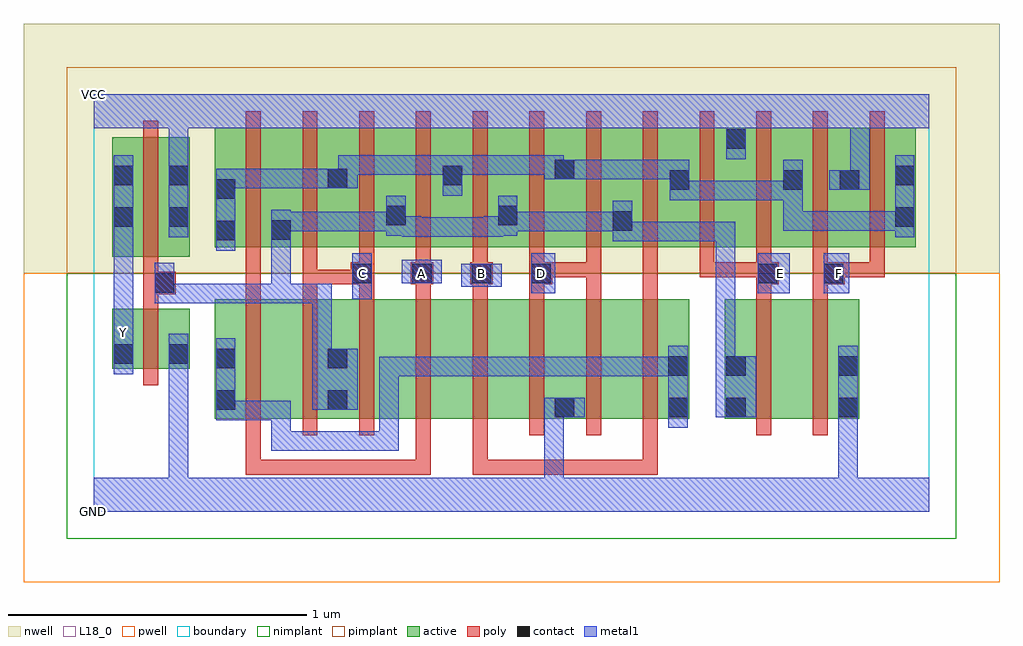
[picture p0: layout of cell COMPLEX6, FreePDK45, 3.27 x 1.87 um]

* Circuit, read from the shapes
.subckt COMPLEX6 A B C D E F GND VCC Y
M1 GND n1 Y VSUBS nfet w=0.2u l=0.05u
M2 n2 A n3 VSUBS nfet w=0.4u l=0.05u
M3 n1 C n2 VSUBS nfet w=0.4u l=0.05u
M4 n4 C n1 VSUBS nfet w=0.4u l=0.05u
M5 n5 A n4 VSUBS nfet w=0.4u l=0.05u
M6 n6 B n5 VSUBS nfet w=0.4u l=0.05u
M7 GND D n6 VSUBS nfet w=0.4u l=0.05u
M8 n7 D GND VSUBS nfet w=0.4u l=0.05u
M9 n3 B n7 VSUBS nfet w=0.4u l=0.05u
M10 n8 E n1 VSUBS nfet w=0.4u l=0.05u
M11 GND F n8 VSUBS nfet w=0.4u l=0.05u
M12 VCC n1 Y n9 pfet w=0.4u l=0.05u
M13 n1 A n10 n9 pfet w=0.4u l=0.05u m=2
M14 n10 C n1 n9 pfet w=0.4u l=0.05u m=2
M15 n1 B n10 n9 pfet w=0.4u l=0.05u m=2
M16 n10 D n1 n9 pfet w=0.4u l=0.05u m=2
M17 VCC E n10 n9 pfet w=0.4u l=0.05u m=2
M18 VCC F n10 n9 pfet w=0.4u l=0.05u m=2
.ends

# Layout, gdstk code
import gdstk
lib = gdstk.Library(unit=1e-6, precision=1e-09)
def R(c, l, rs):  # rectangles x0, y0, x1, y1
    for r in rs: c.add(gdstk.rectangle(r[:2], r[2:], *l))
def A(c, l, x, y, w, h, nx, ny, dx, dy):  # array of equal rectangles
    R(c, l, [(x+i*dx, y+j*dy, x+i*dx+w, y+j*dy+h) for i in range(nx) for j in range(ny)])
active = (1, 0)
pwell = (2, 0)
nwell = (3, 0)
nimplant = (4, 0)
pimplant = (5, 0)
poly = (9, 0)
contact = (10, 0)
metal1 = (11, 0)
L18_0 = (18, 0)
boundary = (235, 0)

complex6 = lib.new_cell('COMPLEX6')
A(complex6, active, 1.735, 0.887, 0.265, 0.4, 4, 1, 0.19, 0)
R(complex6, active, [(0.405,0.312,0.63,0.712), (0.63,0.312,0.855,0.712), (0.78,0.312,1.01,0.712), (1.01,0.312,1.2,0.712), (1.2,0.312,1.39,0.712), (1.39,0.312,1.615,0.712), (1.54,0.312,1.77,0.712), (1.54,0.312,1.615,0.617), (1.77,0.312,1.995,0.712), (1.92,0.312,1.995,0.712), (2.115,0.312,2.19,0.712), (2.115,0.312,2.34,0.712), (2.34,0.312,2.565,0.712), (2.49,0.312,2.565,0.712), (0.78,0.33,0.855,0.712), (0.405,0.337,0.48,0.712), (0.062,0.48,0.137,0.68), (0.062,0.48,0.322,0.68), (0.247,0.48,0.322,0.68), (0.062,0.855,0.322,1.255), (0.062,0.855,0.137,1.2), (0.247,0.855,0.322,1.255), (0.405,0.887,0.48,1.2), (0.405,0.887,0.665,1.287), (0.59,0.887,0.855,1.287), (0.78,0.887,1.05,1.287), (0.975,0.887,1.24,1.287), (1.165,0.887,1.425,1.287), (1.35,0.887,1.615,1.287), (1.54,0.887,1.81,1.287), (2.495,0.887,2.755,1.287), (2.68,0.887,2.755,1.2), (0.59,0.907,0.665,1.07), (0.78,0.907,0.855,1.2), (0.975,0.907,1.05,1.07), (1.165,0.907,1.24,1.2), (1.35,0.907,1.425,1.07), (1.54,0.907,1.615,1.2), (1.735,0.907,1.81,1.07), (1.925,0.907,2,1.2), (2.115,0.907,2.19,1.287), (2.305,0.907,2.38,1.2), (2.495,0.907,2.57,1.255)])
R(complex6, pwell, [(-0.235,-0.235,3.035,0.8)])
R(complex6, nwell, [(-0.235,0.8,3.035,1.635)])
R(complex6, nimplant, [(-0.09,-0.09,2.89,0.8)])
R(complex6, pimplant, [(-0.09,0.8,2.89,1.49)])
A(complex6, poly, 0.51, 0.257, 0.05, 0.51, 8, 1, 0.19, 0)
A(complex6, poly, 0.7, 0.717, 0.05, 0.095, 5, 1, 0.19, 0)
A(complex6, poly, 0.89, 0.787, 0.05, 0.095, 10, 1, 0.19, 0)
A(complex6, poly, 1.65, 0.787, 0.05, 0.05, 3, 1, 0.19, 0)
A(complex6, poly, 0.51, 0.832, 0.05, 0.51, 12, 1, 0.19, 0)
R(complex6, poly, [(0.51,0.125,0.56,0.175), (0.51,0.125,0.56,0.175), (0.51,0.125,0.56,0.175), (0.51,0.125,0.56,0.307), (0.51,0.125,0.78,0.175), (0.73,0.125,0.78,0.175), (0.73,0.125,0.78,0.175), (0.73,0.125,0.78,0.175), (0.73,0.125,0.912,0.175), (0.862,0.125,0.912,0.175), (0.862,0.125,0.912,0.175), (0.862,0.125,0.912,0.175), (0.862,0.125,1.13,0.175), (1.08,0.125,1.13,0.175), (1.08,0.125,1.13,0.307), (1.27,0.125,1.32,0.175), (1.27,0.125,1.32,0.175), (1.27,0.125,1.32,0.175), (1.27,0.125,1.32,0.307), (1.27,0.125,1.567,0.175), (1.517,0.125,1.567,0.175), (1.517,0.125,1.567,0.175), (1.517,0.125,1.567,0.175), (1.517,0.125,1.757,0.175), (1.707,0.125,1.89,0.175), (1.707,0.125,1.757,0.175), (1.707,0.125,1.757,0.175), (1.707,0.125,1.757,0.175), (1.84,0.125,1.89,0.175), (1.84,0.125,1.89,0.307), (2.22,0.257,2.27,0.767), (2.41,0.257,2.46,0.767), (0.167,0.425,0.217,0.735), (0.167,0.685,0.217,0.78), (0.51,0.717,0.56,0.837), (1.65,0.717,1.7,0.837), (1.84,0.717,1.89,0.837), (2.22,0.717,2.27,0.812), (2.41,0.717,2.46,0.812), (0.167,0.73,0.275,0.805), (0.167,0.755,0.217,0.85), (0.7,0.762,0.75,0.812), (0.7,0.762,0.75,0.812), (0.7,0.762,0.75,0.812), (0.7,0.762,0.75,0.882), (0.7,0.762,0.912,0.812), (0.862,0.762,0.94,0.837), (1.062,0.762,1.137,0.837), (1.262,0.762,1.337,0.837), (1.46,0.762,1.537,0.837), (2.22,0.762,2.295,0.837), (2.41,0.762,2.517,0.837), (0.51,0.787,0.56,0.882), (0.51,0.787,0.56,0.837), (1.487,0.787,1.537,0.837), (1.487,0.787,1.537,0.837), (1.487,0.787,1.7,0.837), (2.03,0.787,2.08,0.837), (2.03,0.787,2.08,0.837), (2.03,0.787,2.27,0.837), (2.467,0.787,2.65,0.837), (2.467,0.787,2.517,0.837), (2.467,0.787,2.517,0.837), (2.6,0.787,2.65,0.837), (0.167,0.8,0.217,1.31)])
A(complex6, contact, 0.867, 0.767, 0.065, 0.065, 4, 1, 0.2, 0)
R(complex6, contact, [(1.545,0.317,1.61,0.382), (1.925,0.317,1.99,0.382), (2.12,0.317,2.185,0.382), (2.495,0.317,2.56,0.382), (0.41,0.342,0.475,0.407), (0.785,0.342,0.85,0.407), (1.925,0.457,1.99,0.522), (2.12,0.457,2.185,0.522), (2.495,0.457,2.56,0.522), (0.41,0.482,0.475,0.547), (0.785,0.482,0.85,0.547), (0.067,0.497,0.132,0.562), (0.252,0.497,0.317,0.562), (0.205,0.735,0.27,0.8), (2.225,0.767,2.29,0.832), (2.447,0.767,2.512,0.832), (0.41,0.91,0.475,0.975), (0.595,0.912,0.66,0.977), (1.74,0.942,1.805,1.007), (0.067,0.955,0.132,1.02), (0.252,0.955,0.317,1.02), (2.685,0.955,2.75,1.02), (0.98,0.96,1.045,1.025), (1.355,0.96,1.42,1.025), (0.41,1.05,0.475,1.115), (1.93,1.08,1.995,1.145), (2.31,1.08,2.375,1.145), (2.5,1.08,2.565,1.145), (0.785,1.085,0.85,1.15), (0.067,1.095,0.132,1.16), (0.252,1.095,0.317,1.16), (1.17,1.095,1.235,1.16), (2.685,1.095,2.75,1.16), (1.545,1.115,1.61,1.18), (2.12,1.217,2.185,1.282)])
R(complex6, metal1, [(0,0,2.8,0.115), (0.252,0.05,0.317,0.115), (0.252,0.05,0.317,0.115), (0.252,0.05,0.317,0.115), (0.252,0.05,0.317,0.115), (0.252,0.05,0.317,0.115), (0.252,0.05,0.317,0.115), (0.252,0.05,0.317,0.527), (1.51,0.05,1.575,0.115), (1.51,0.05,1.575,0.115), (1.51,0.05,1.575,0.382), (2.495,0.05,2.56,0.347), (0.595,0.205,0.66,0.27), (0.595,0.205,0.66,0.27), (0.595,0.205,0.66,0.27), (0.595,0.205,0.797,0.27), (0.595,0.205,0.66,0.372), (0.732,0.205,0.797,0.27), (0.732,0.205,0.797,0.27), (0.732,0.205,0.797,0.27), (0.732,0.205,1.022,0.27), (0.957,0.205,1.022,0.27), (0.957,0.205,1.022,0.52), (1.925,0.282,1.99,0.557), (2.495,0.282,2.56,0.347), (2.495,0.282,2.56,0.347), (2.495,0.282,2.56,0.347), (2.495,0.282,2.56,0.347), (2.495,0.282,2.56,0.557), (0.41,0.307,0.475,0.372), (0.41,0.307,0.475,0.372), (0.41,0.307,0.475,0.582), (0.41,0.307,0.66,0.372), (0.595,0.307,0.66,0.372), (1.51,0.317,1.575,0.382), (1.51,0.317,1.575,0.382), (1.51,0.317,1.645,0.382), (2.085,0.317,2.22,0.522), (0.732,0.342,0.885,0.547), (0.957,0.455,1.022,0.52), (0.957,0.455,1.022,0.52), (0.957,0.455,1.022,0.52), (0.957,0.455,1.235,0.52), (1.17,0.455,1.235,0.52), (1.17,0.455,1.372,0.52), (1.307,0.455,1.372,0.52), (1.307,0.455,1.372,0.52), (1.307,0.455,1.372,0.52), (1.307,0.455,1.557,0.52), (1.492,0.455,1.557,0.52), (1.492,0.455,1.557,0.52), (1.492,0.455,1.557,0.52), (1.492,0.455,1.782,0.52), (1.717,0.455,1.782,0.52), (1.717,0.455,1.782,0.52), (1.717,0.455,1.782,0.52), (1.717,0.455,1.99,0.52), (1.925,0.455,1.99,0.52), (1.925,0.455,1.99,0.52), (2.085,0.457,2.15,0.522), (2.085,0.457,2.15,0.522), (2.085,0.457,2.15,0.972), (0.067,0.462,0.132,0.597), (0.252,0.462,0.317,0.527), (0.252,0.462,0.317,0.527), (0.252,0.462,0.317,0.597), (0.732,0.482,0.797,0.765), (0.067,0.532,0.132,0.597), (0.067,0.532,0.132,0.667), (0.067,0.602,0.132,0.985), (0.205,0.7,0.27,0.765), (0.205,0.7,0.27,0.765), (0.205,0.7,0.27,0.835), (0.205,0.7,0.522,0.765), (0.457,0.7,0.522,0.765), (0.457,0.7,0.522,0.765), (0.457,0.7,0.522,0.765), (0.457,0.7,0.66,0.765), (0.595,0.7,0.66,0.765), (0.595,0.7,0.66,0.765), (0.595,0.7,0.66,0.765), (0.595,0.7,0.797,0.765), (0.595,0.7,0.66,0.942), (0.732,0.7,0.797,0.765), (0.867,0.712,0.932,0.867), (1.467,0.732,1.547,0.867), (2.225,0.732,2.332,0.867), (2.447,0.732,2.532,0.867), (1.232,0.755,1.367,0.832), (1.032,0.767,1.167,0.845), (0.41,0.875,0.475,1.15), (0.595,0.877,0.66,1.012), (1.74,0.907,1.805,1.042), (1.74,0.907,1.995,0.972), (1.93,0.907,1.995,0.972), (1.93,0.907,1.995,0.972), (1.93,0.907,1.995,0.972), (1.93,0.907,2.15,0.972), (2.085,0.907,2.15,0.972), (2.085,0.907,2.15,0.972), (2.085,0.907,2.15,0.972), (0.067,0.92,0.132,1.195), (0.252,0.92,0.317,1.195), (2.685,0.92,2.75,1.195), (1.032,0.922,1.235,0.987), (1.032,0.922,1.097,0.99), (1.17,0.922,1.235,0.987), (1.17,0.922,1.372,0.987), (1.307,0.922,1.372,0.99), (0.98,0.925,1.045,1.06), (0.98,0.925,1.097,0.99), (1.307,0.925,1.42,0.99), (1.355,0.925,1.42,1.06), (0.595,0.94,0.66,1.005), (0.595,0.94,0.66,1.005), (0.595,0.94,0.832,1.005), (0.767,0.94,0.832,1.005), (0.767,0.94,0.832,1.005), (0.767,0.94,0.832,1.005), (0.767,0.94,1.045,1.005), (1.355,0.94,1.557,1.005), (1.492,0.94,1.557,1.005), (1.492,0.94,1.557,1.005), (1.492,0.94,1.557,1.005), (1.492,0.94,1.805,1.005), (1.74,0.94,1.805,1.005), (1.74,0.94,1.805,1.005), (2.31,0.942,2.375,1.007), (2.31,0.942,2.425,1.007), (2.31,0.942,2.375,1.11), (2.36,0.942,2.425,1.007), (2.36,0.942,2.612,1.007), (2.547,0.942,2.612,1.007), (2.547,0.942,2.75,1.007), (2.685,0.942,2.75,1.007), (2.685,0.942,2.75,1.007), (1.93,1.045,1.995,1.18), (1.93,1.045,2.132,1.11), (2.067,1.045,2.132,1.11), (2.067,1.045,2.132,1.11), (2.067,1.045,2.132,1.11), (2.067,1.045,2.287,1.11), (2.222,1.045,2.287,1.11), (2.222,1.045,2.375,1.11), (2.31,1.045,2.375,1.18), (1.17,1.06,1.235,1.195), (2.465,1.08,2.6,1.145), (2.535,1.08,2.6,1.35), (0.41,1.085,0.475,1.15), (0.41,1.085,0.475,1.15), (0.41,1.085,0.66,1.15), (0.595,1.085,0.66,1.15), (0.595,1.085,0.66,1.15), (0.595,1.085,0.66,1.15), (0.595,1.085,0.815,1.15), (0.75,1.085,0.885,1.15), (0.82,1.085,0.885,1.15), (0.82,1.085,0.885,1.195), (1.51,1.115,1.575,1.18), (1.51,1.115,1.645,1.18), (1.51,1.115,1.575,1.195), (1.58,1.115,1.782,1.18), (1.717,1.115,1.782,1.18), (1.717,1.115,1.782,1.18), (1.717,1.115,1.782,1.18), (1.717,1.115,1.995,1.18), (1.93,1.115,1.995,1.18), (1.93,1.115,1.995,1.18), (0.252,1.13,0.317,1.35), (0.82,1.13,1.022,1.195), (0.957,1.13,1.022,1.195), (0.957,1.13,1.097,1.195), (1.032,1.13,1.097,1.195), (1.032,1.13,1.235,1.195), (1.17,1.13,1.235,1.195), (1.17,1.13,1.235,1.195), (1.17,1.13,1.372,1.195), (1.307,1.13,1.372,1.195), (1.307,1.13,1.575,1.195), (2.12,1.182,2.185,1.317), (2.12,1.252,2.185,1.35), (0,1.285,2.8,1.4)])
A(complex6, L18_0, 0.867, 0.767, 0.065, 0.065, 4, 1, 0.2, 0)
R(complex6, L18_0, [(0,0,2.8,0.115), (0.252,0.05,0.317,0.115), (0.252,0.05,0.317,0.115), (0.252,0.05,0.317,0.115), (0.252,0.05,0.317,0.115), (0.252,0.05,0.317,0.115), (0.252,0.05,0.317,0.115), (0.252,0.05,0.317,0.527), (1.51,0.05,1.575,0.115), (1.51,0.05,1.575,0.115), (1.51,0.05,1.575,0.382), (2.495,0.05,2.56,0.347), (2.495,0.282,2.56,0.347), (2.495,0.282,2.56,0.347), (2.495,0.282,2.56,0.347), (2.495,0.282,2.56,0.347), (2.495,0.282,2.56,0.557), (1.51,0.317,1.575,0.382), (1.51,0.317,1.575,0.382), (1.51,0.317,1.645,0.382), (0.067,0.462,0.132,0.597), (0.252,0.462,0.317,0.597), (0.252,0.462,0.317,0.527), (0.252,0.462,0.317,0.527), (0.067,0.532,0.132,0.667), (0.067,0.532,0.132,0.597), (0.067,0.567,0.132,0.632), (0.067,0.602,0.132,0.985), (0.867,0.712,0.932,0.867), (1.467,0.732,1.547,0.867), (2.225,0.732,2.332,0.867), (2.447,0.732,2.532,0.867), (1.232,0.755,1.367,0.832), (1.032,0.767,1.167,0.845), (2.267,0.767,2.332,0.832), (2.467,0.767,2.532,0.832), (0.067,0.92,0.132,1.195), (0.252,0.92,0.317,1.195), (2.465,1.08,2.6,1.145), (2.535,1.08,2.6,1.35), (0.252,1.13,0.317,1.35), (2.12,1.182,2.185,1.317), (2.12,1.252,2.185,1.35), (0,1.285,2.8,1.4)])
R(complex6, boundary, [(0,0,2.8,1.4)])
complex6.add(gdstk.Label('A', (1.1,0.8), layer=11, texttype=0))
complex6.add(gdstk.Label('B', (1.3,0.8), layer=11, texttype=0))
complex6.add(gdstk.Label('C', (0.9,0.8), layer=11, texttype=0))
complex6.add(gdstk.Label('D', (1.5,0.8), layer=11, texttype=0))
complex6.add(gdstk.Label('E', (2.3,0.8), layer=11, texttype=0))
complex6.add(gdstk.Label('F', (2.5,0.8), layer=11, texttype=0))
complex6.add(gdstk.Label('Y', (0.1,0.6), layer=11, texttype=0))
complex6.add(gdstk.Label('VCC', (0,1.4), layer=11, texttype=0))
complex6.add(gdstk.Label('GND', (0,0), layer=11, texttype=0))

lib.write_gds('COMPLEX6.gds')
